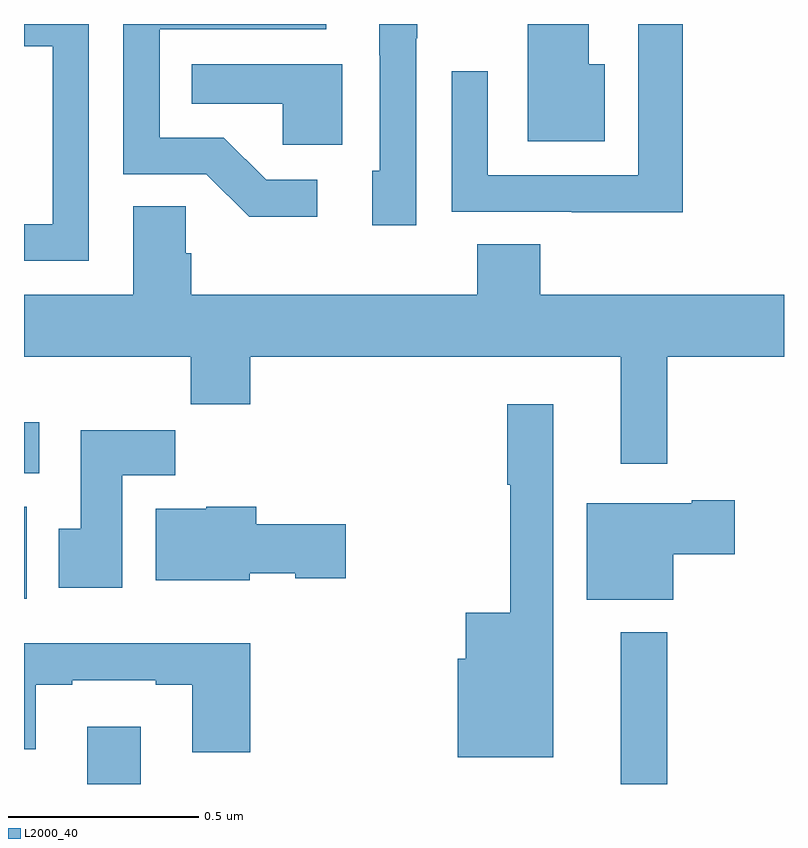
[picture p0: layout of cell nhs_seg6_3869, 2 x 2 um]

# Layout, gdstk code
import gdstk
lib = gdstk.Library(unit=1e-6, precision=1e-09)
def R(c, l, rs):  # rectangles x0, y0, x1, y1
    for r in rs: c.add(gdstk.rectangle(r[:2], r[2:], *l))
def P(c, l, *ps):  # polygons
    for p in ps: c.add(gdstk.Polygon(p, *l))
L2000_40 = (2000, 40)

nhs_seg6_3869 = lib.new_cell('nhs_seg6_3869')
R(nhs_seg6_3869, L2000_40, [(162.167,991.5,162.307,991.651), (163.571,991.5,163.693,991.9), (162,991.988,162.007,992.23), (162,992.318,162.04,992.452)])
P(nhs_seg6_3869, L2000_40, [(163.032,993.463),(163.035,993.463),(163.035,993.5),(162.935,993.5),(162.935,993.418),(162.936,993.418),(162.936,993.114),(162.917,993.114),(162.917,992.97),(163.032,992.97)],
  [(162.171,993.5),(162,993.5),(162,993.442),(162.075,993.442),(162.075,992.973),(162,992.973),(162,992.877),(162.171,992.877)],
  [(163.528,993.394),(163.486,993.394),(163.486,993.5),(163.325,993.5),(163.325,993.191),(163.528,993.191)],
  [(162.772,993.09),(162.637,993.09),(162.526,993.201),(162.357,993.201),(162.357,993.486),(162.796,993.486),(162.796,993.5),(162.261,993.5),(162.261,993.105),(162.48,993.105),(162.593,992.993),(162.772,992.993)],
  [(163.733,993.5),(163.617,993.5),(163.617,993.102),(163.221,993.102),(163.221,993.376),(163.125,993.376),(163.125,993.006),(163.441,993.006),(163.441,993.005),(163.733,993.005)],
  [(162.838,993.394),(162.442,993.394),(162.442,993.29),(162.681,993.29),(162.681,993.182),(162.838,993.182)],
  [(163.693,992.624),(164,992.624),(164,992.788),(163.358,992.788),(163.358,992.921),(163.193,992.921),(163.193,992.788),(162.44,992.788),(162.44,992.897),(162.426,992.897),(162.426,993.02),(162.287,993.02),(162.287,992.788),(162,992.788),(162,992.624),(162.439,992.624),(162.439,992.5),(162.596,992.5),(162.596,992.624),(163.571,992.624),(163.571,992.343),(163.693,992.343)],
  [(163.393,992.5),(163.272,992.5),(163.272,992.287),(163.279,992.287),(163.279,991.951),(163.163,991.951),(163.163,991.83),(163.142,991.83),(163.142,991.571),(163.393,991.571)],
  [(162.259,992.312),(162.398,992.312),(162.398,992.431),(162.149,992.431),(162.149,992.172),(162.092,992.172),(162.092,992.016),(162.259,992.016)],
  [(163.708,992.105),(163.87,992.105),(163.87,992.247),(163.757,992.247),(163.757,992.239),(163.481,992.239),(163.481,991.985),(163.708,991.985)],
  [(162.594,992.054),(162.714,992.054),(162.714,992.042),(162.847,992.042),(162.847,992.184),(162.611,992.184),(162.611,992.23),(162.48,992.23),(162.48,992.224),(162.347,992.224),(162.347,992.036),(162.594,992.036)],
  [(162.596,991.87),(162,991.87),(162,991.592),(162.031,991.592),(162.031,991.761),(162.127,991.761),(162.127,991.773),(162.347,991.773),(162.347,991.761),(162.443,991.761),(162.443,991.584),(162.596,991.584)])

lib.write_gds('nhs_seg6_3869.gds')
